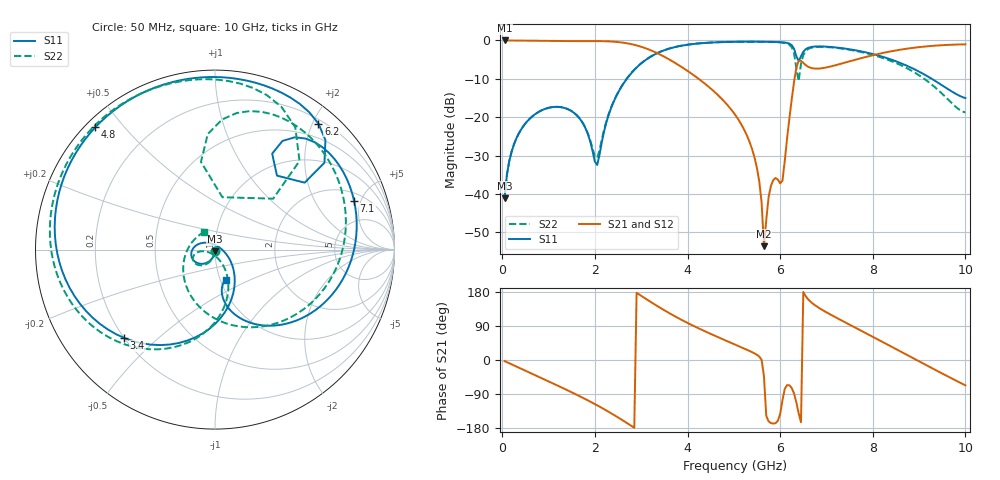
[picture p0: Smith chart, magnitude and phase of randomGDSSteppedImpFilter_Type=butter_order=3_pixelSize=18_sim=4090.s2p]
! freq	dB(S11)	phase(S11)	dB(S12)	phase(S12)
!  dB(S21)	phase(S21)	dB(S22)	phase(S22)
!S-par simulation data
#  GHz  S  DB  R 50
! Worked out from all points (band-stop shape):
!   200 points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, 50 MHz to 10 GHz, reference 50 ohm
!   highest |S21| = -0.01 dB at 50 MHz (marker M1); lowest = -53.6 dB at 5.65 GHz (marker M2)
!   |S21| within 3 dB of the highest: start of sweep to 3.29 GHz; 8.322 GHz to end of sweep
!   lowest |S11| = -41.1 dB at 50 MHz (marker M3), VSWR 1.02, Z = 50 - j0.879 ohm
!   |S11| at or under -10 dB: start of sweep to 2.689 GHz; 9.273 GHz to end of sweep
!   |S22| runs from -40.9 to -0.3 dB; largest |S21 - S12| = 0
!   S11 on the Smith chart (normalised r, x): 50 MHz: 1.00, -0.02; 3.4 GHz: 0.20, -0.39; 4.8 GHz: 0.03, +0.42; 6.2 GHz: 0.26, +2.09; 7.1 GHz: 2.59, +4.35; 10 GHz: 1.06, -0.37
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0.05  -41.11 -92.1  -0.01 -2.9  -0.01 -2.9  -40.87 -90.4
0.2  -29.03 -102.1  -0.02 -11.4  -0.02 -11.4  -29.03 -100.4
0.6  -20.32 -126.7  -0.09 -33.9  -0.09 -33.9  -20.31 -121.8
1.75  -21.80 153.1  -0.15 -100.4  -0.15 -100.4  -21.72 -173.1
2.05  -32.45 48.0  -0.16 -119.7  -0.16 -119.7  -30.65 -110.0
2.5  -13.62 -58.1  -0.42 -151.6  -0.42 -151.6  -13.52 -69.3
3.4  -3.03 -135.8  -3.63 138.4  -3.63 138.4  -2.99 -130.2
4.05  -1.04 178.2  -8.36 94.8  -8.36 94.8  -1.01 -170.8
4.8  -0.41 134.3  -16.00 52.7  -16.00 52.7  -0.40 150.1
5.05  -0.35 120.7  -19.76 39.5  -19.76 39.5  -0.34 137.8
5.5  -0.33 96.4  -33.34 13.7  -33.34 13.7  -0.33 115.3
5.65  -0.34 88.2  -53.64 -42.4  -53.64 -42.4  -0.36 107.3
5.8  -0.37 79.6  -37.93 -166.4  -37.93 -166.4  -0.40 98.7
6.05  -0.49 63.6  -36.54 -106.1  -36.54 -106.1  -0.58 81.4
6.2  -0.84 50.6  -20.26 -66.7  -20.26 -66.7  -1.13 65.1
6.35  -4.11 36.7  -7.12 -112.1  -7.12 -112.1  -7.32 41.2
6.45  -4.12 59.2  -5.30 -164.4  -5.30 -164.4  -6.11 99.1
6.7  -1.65 43.6  -7.26 149.3  -7.26 149.3  -1.83 71.4
7.1  -1.71 19.4  -6.77 119.0  -6.77 119.0  -1.81 42.4
8.35  -4.79 -45.5  -2.94 38.6  -2.94 38.6  -5.15 -45.3
9.15  -9.12 -75.7  -1.56 -13.3  -1.56 -13.3  -10.34 -113.3
10  -15.03 -70.7  -1.02 -67.0  -1.02 -67.0  -18.77 123.0
